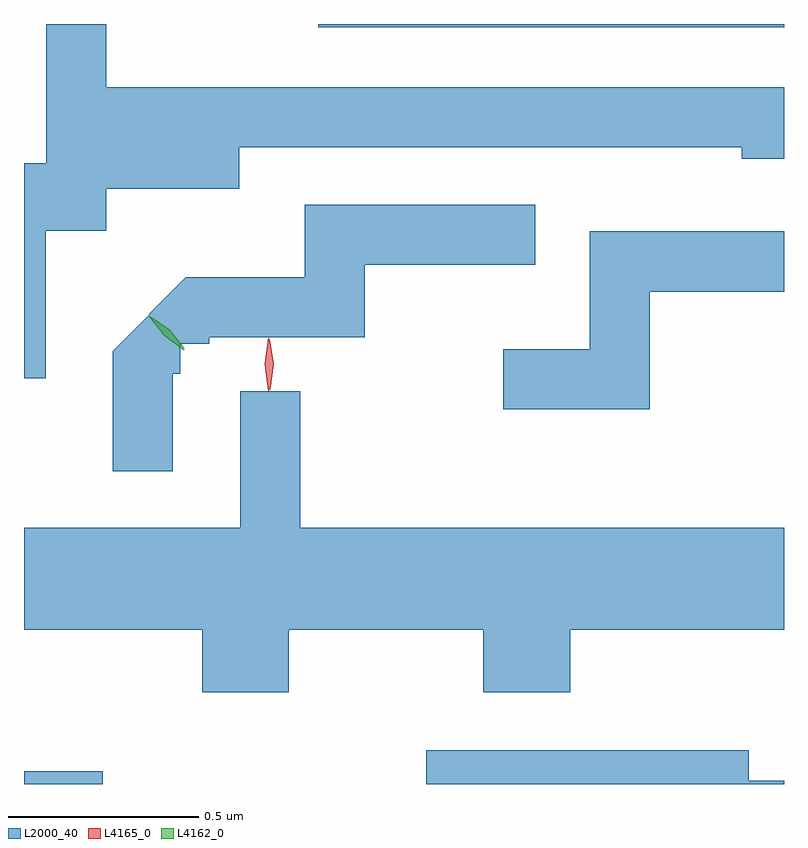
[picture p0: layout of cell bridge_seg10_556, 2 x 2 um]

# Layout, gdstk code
import gdstk
lib = gdstk.Library(unit=1e-6, precision=1e-09)
def R(c, l, rs):  # rectangles x0, y0, x1, y1
    for r in rs: c.add(gdstk.rectangle(r[:2], r[2:], *l))
def P(c, l, *ps):  # polygons
    for p in ps: c.add(gdstk.Polygon(p, *l))
L2000_40 = (2000, 40)
L4162_0 = (4162, 0)
L4165_0 = (4165, 0)

bridge_seg10_556 = lib.new_cell('bridge_seg10_556')
R(bridge_seg10_556, L2000_40, [(831.392,2164.57,831.599,2164.604), (832.166,2166.561,833.392,2166.57)])
P(bridge_seg10_556, L2000_40, [(831.449,2166.026),(831.609,2166.026),(831.609,2166.136),(831.959,2166.136),(831.959,2166.246),(833.281,2166.246),(833.281,2166.216),(833.392,2166.216),(833.392,2166.404),(831.609,2166.404),(831.609,2166.57),(831.451,2166.57),(831.451,2166.204),(831.392,2166.204),(831.392,2165.638),(831.449,2165.638)],
  [(831.784,2165.65),(831.803,2165.65),(831.803,2165.728),(831.88,2165.728),(831.88,2165.746),(832.289,2165.746),(832.289,2165.936),(832.738,2165.936),(832.738,2166.094),(832.131,2166.094),(832.131,2165.904),(831.818,2165.904),(831.722,2165.808),(831.724,2165.807),(831.626,2165.709),(831.626,2165.393),(831.784,2165.393)],
  [(833.039,2165.866),(833.392,2165.866),(833.392,2166.024),(832.881,2166.024),(832.881,2165.714),(832.653,2165.714),(832.653,2165.556),(833.039,2165.556)],
  [(832.089,2164.976),(832.601,2164.976),(832.601,2164.811),(832.829,2164.811),(832.829,2164.976),(833.392,2164.976),(833.392,2165.244),(832.119,2165.244),(832.119,2165.603),(831.961,2165.603),(831.961,2165.244),(831.392,2165.244),(831.392,2164.976),(831.861,2164.976),(831.861,2164.811),(832.089,2164.811)],
  [(833.392,2164.579),(833.299,2164.579),(833.299,2164.659),(832.451,2164.659),(832.451,2164.57),(833.392,2164.57)])
P(bridge_seg10_556, L4162_0, [(831.813,2165.716),(831.763,2165.751),(831.725,2165.799),(831.725,2165.8),(831.726,2165.8),(831.776,2165.765),(831.814,2165.717),(831.814,2165.716)],
  [(831.813,2165.711),(831.761,2165.749),(831.721,2165.8),(831.721,2165.801),(831.722,2165.801),(831.774,2165.763),(831.814,2165.712),(831.814,2165.711)])
P(bridge_seg10_556, L4165_0, [(832.036,2165.604),(832.035,2165.605),(832.026,2165.674),(832.035,2165.743),(832.036,2165.743),(832.036,2165.743),(832.046,2165.674),(832.036,2165.605)],
  [(832.039,2165.608),(832.039,2165.608),(832.029,2165.674),(832.038,2165.74),(832.039,2165.741),(832.039,2165.74),(832.049,2165.674),(832.04,2165.608)])

lib.write_gds('bridge_seg10_556.gds')
